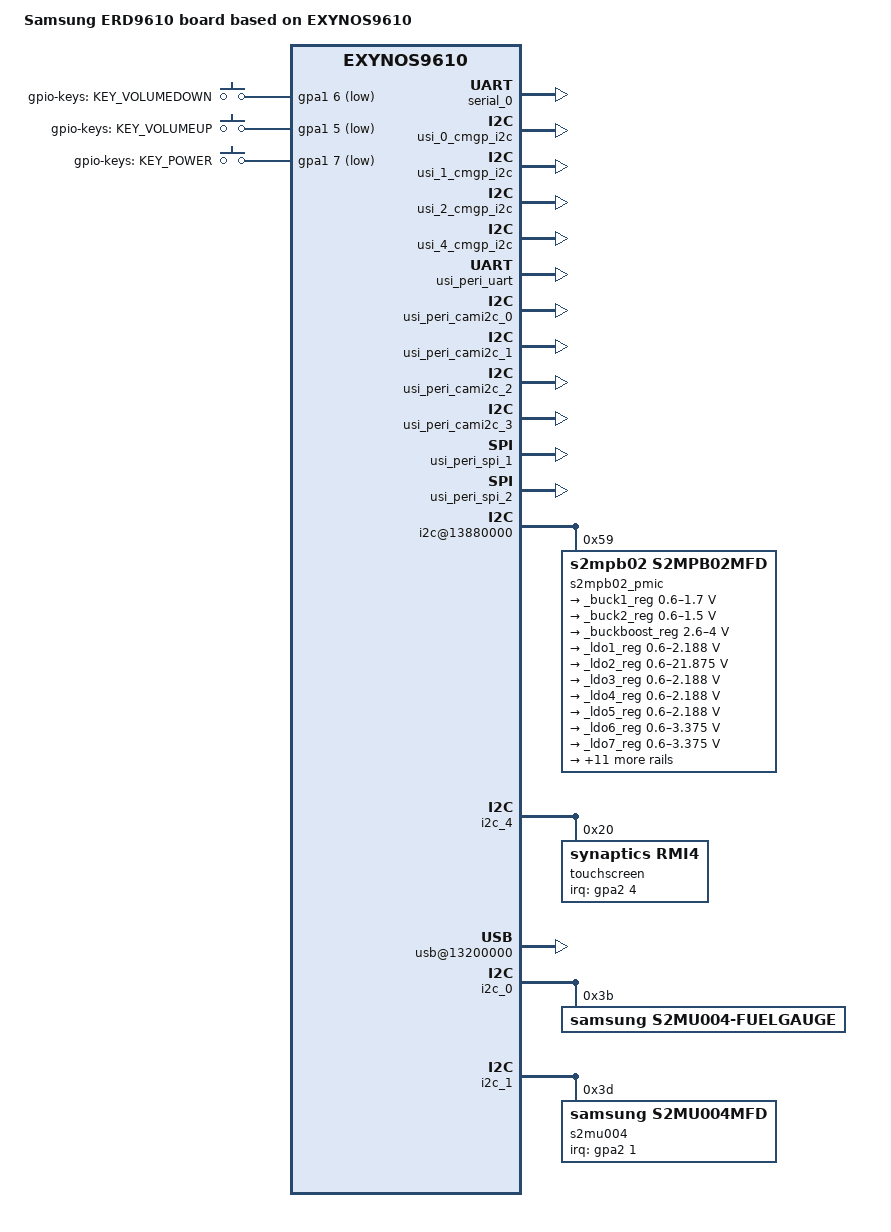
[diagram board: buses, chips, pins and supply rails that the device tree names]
/*
 * SAMSUNG EXYNOS9610 board device tree source
 *
 * Copyright (c) 2017 Samsung Electronics Co., Ltd.
 *		http://www.samsung.com
 *
 * This program is free software; you can redistribute it and/or modify
 * it under the terms of the GNU General Public License version 2 as
 * published by the Free Software Foundation.
 */

/dts-v1/;
#include "exynos9610-rmem.dtsi"
#include "exynos9610.dtsi"
#include "exynos9610_battery_data.dtsi"
#include "modem-ss360ap-sit-pdata.dtsi"
#include "exynos9610-debug.dtsi"
#include "exynos9610-display-lcd.dtsi"

/ {
	model = "Samsung ERD9610 board based on EXYNOS9610";
	compatible = "samsung,exynos9610", "samsung,ERD9610";

	ect {
		parameter_address = <0x90000000>;
		parameter_size = <0x19000>;
	};

	chosen {
		bootargs = "console=ram root=/dev/ram0 clk_ignore_unused bcm_setup=0xffffff80f8e00000 androidboot.hardware=samsungexynos9610 androidboot.selinux=permissive androidboot.debug_level=0x4948 firmware_class.path=/vendor/firmware ecd_setup=disable reserve-fimc=0xffffff80fa000000 pmic_info=0x3";
		linux,initrd-start = <0x84000000>;
		linux,initrd-end = <0x841FFFFF>;
	};

	fixed-rate-clocks {
		oscclk {
			compatible = "samsung,exynos9610-oscclk";
			clock-frequency = <26000000>;
		};
	};

	firmware {
		android {
			compatible = "android,firmware";
			fstab {
				compatible = "android,fstab";
				system {
					compatible = "android,system";
					dev = "/dev/block/platform/13520000.ufs/by-name/system";
					type = "ext4";
					mnt_flags = "ro";
					fsmgr_flags = "wait";
				};
				vendor {
					compatible = "android,vendor";
					dev = "/dev/block/platform/13520000.ufs/by-name/vendor";
					type = "ext4";
					mnt_flags = "ro";
					fsmgr_flags = "wait";
				};
			};
		};
	};

	serial_0: uart@13820000 {
		status = "okay";
	};

	dsim_0: dsim@0x148E0000 {
		lcd_info = <&s6e3fa0>;
		/* reset */
		gpios = <&gpg1 4 0x1>, <&gpg1 7 0x1>;
	};

	/* USI_0_SHUB */
	usi_0_shub: usi@11013000 {
		usi_v2_mode = "spi";
		status = "okay";
	};

	/* USI_SHUB_0_I2C */
	usi_0_shub_i2c: usi@11013004 {
		/*	usi_v2_mode = "i2c" or "spi" or "uart"	*/
		status = "disabled";
	};

	/* USI_0_CMGP */
	usi_0_cmgp: usi@11C12000 {
		/*	usi_v2_mode = "i2c" or "spi" or "uart"	*/
		status = "disabled";
	};

	/* USI_0_CMGP_I2C */
	usi_0_cmgp_i2c: usi@11C12004 {
		usi_v2_mode = "i2c";
		status = "okay";
	};

	/* USI_1_CMGP */
	usi_1_cmgp: usi@11C12010 {
		usi_v2_mode = "i2c";
		status = "okay";
	};

	/* USI_1_CMGP_I2C */
	usi_1_cmgp_i2c: usi@11C12014 {
		usi_v2_mode = "i2c";
		status = "okay";
	};

	/* USI_2_CMGP */
	usi_2_cmgp: usi@11C12020 {
		/*	usi_v2_mode = "i2c" or "spi" or "uart"	*/
		status = "disabled";
	};

	/* USI_2_CMGP_I2C */
	usi_2_cmgp_i2c: usi@11C12024 {
		usi_v2_mode = "i2c";
		status = "okay";
	};

	/* USI_3_CMGP */
	usi_3_cmgp: usi@11C12030 {
		usi_v2_mode = "spi";
		status = "okay";
	};

	/* USI_3_CMGP_I2C */
	usi_3_cmgp_i2c: usi@11C12034 {
		/*	usi_v2_mode = "i2c" or "spi" or "uart"	*/
		status = "disabled";
	};

	/* USI_4_CMGP */
	usi_4_cmgp: usi@11C12040 {
		usi_v2_mode = "i2c";
		status = "okay";
	};

	/* USI_4_CMGP_I2C */
	usi_4_cmgp_i2c: usi@11C12044 {
		usi_v2_mode = "i2c";
		status = "okay";
	};

	/* USI_PERI_UART */
	usi_peri_uart: usi@10011010 {
		usi_v2_mode = "uart";
		status = "okay";
	};

	/* USI_PERI_CAMI2C_0 */
	usi_peri_cami2c_0: usi@10011020 {
		usi_v2_mode = "i2c";
		status = "okay";
	};

	/* USI_PERI_CAMI2C_1 */
	usi_peri_cami2c_1: usi@10011024 {
		usi_v2_mode = "i2c";
		status = "okay";
	};

	/* USI_PERI_CAMI2C_2 */
	usi_peri_cami2c_2: usi@10011028 {
		usi_v2_mode = "i2c";
		status = "okay";
	};

	/* USI_PERI_CAMI2C_3 */
	usi_peri_cami2c_3: usi@1001102C {
		usi_v2_mode = "i2c";
		status = "okay";
	};

	/* USI_PERI_SPI_0 */
	usi_peri_spi_0: usi@10011030 {
		/*	usi_v2_mode = "i2c" or "spi" or "uart"	*/
		status = "disabled";
	};

	/* USI_PERI_SPI_1 */
	usi_peri_spi_1: usi@10011034 {
		usi_v2_mode = "spi";
		status = "okay";
	};

	/* USI_PERI_USI_0 */
	usi_peri_usi_0: usi@1001103C {
		/*	usi_v2_mode = "i2c" or "spi" or "uart"	*/
		status = "disabled";
	};

	/* USI_PERI_USI_0_I2C */
	usi_peri_usi_0_i2c: usi@10011040 {
		/*	usi_v2_mode = "i2c" or "spi" or "uart"	*/
		status = "disabled";
	};

	/* USI_PERI_SPI_2 */
	usi_peri_spi_2: usi@10011038 {
		usi_v2_mode = "spi";
		status = "okay";
	};

	pinctrl@11850000 {
		pmic_irq: pmic-irq {
			samsung,pins = "gpa2-0";
			samsung,pin-pud = <3>;
			samsugn,pin-drv = <3>;
		};
		sub_pmic_irq: sub-pmic-irq {
			samsung,pins = "gpa1-3";
			samsung,pin-function = <0>;
			samsung,pin-pud = <0>;
			samsung,pin-drv = <0>;
		};
	};

	pinctrl@139B0000 {
		/* Warm reset informatino from AP */
		pm_wrsti: pm-wrsti {
			samsung,pins = "gpg0-7";
			samsung,pin-con-pdn = <3>;
		};
	};


	ifconn {
		status = "okay";
		compatible = "samsung,ifconn";
		ifconn,usbpd = "s2mm005";
		ifconn,muic = "s2mu004-muic";
	};

	speedy@11a10000 {
		status = "okay";

		s2mpu09mfd@00 {
			compatible = "samsung,s2mpu09mfd";
			acpm-ipc-channel = <2>;
			i2c-speedy-address;
			s2mpu09,wakeup = "enabled";
			s2mpu09,irq-gpio = <&gpa2 0 0>;
			reg = <0x00>;
			interrupts = <2 0 0>;
			interrupt-parent = <&gpa2>;
			pinctrl-names = "default";
			pinctrl-0 = <&pmic_irq &pm_wrsti>;
			/* RTC: wtsr/smpl */
			wtsr_en = "enabled"; /* enable */
			smpl_en = "enabled"; /* enable */
			wtsr_timer_val = <3>;	/* 1000ms */
			smpl_timer_val = <4>;	/* 500ms */
			check_jigon = <0>; /* do not check jigon */
			/* RTC: If it's first boot, reset rtc to 1/1/2017 12:00:00(Sun) */
			init_time,sec = <0>;
			init_time,min = <0>;
			init_time,hour = <12>;
			init_time,mday = <1>;
			init_time,mon = <0>;
			init_time,year = <117>;
			init_time,wday = <0>;

			regulators {
				b1_reg: BUCK1 {
					regulator-name = "vdd_mif";
					regulator-min-microvolt = <500000>;
					regulator-max-microvolt = <1100000>;
					regulator-always-on;
					regulator-ramp-delay = <12000>;
					regulator-initial-mode = <2>;
				};

				b2_reg: BUCK2 {
					regulator-name = "vdd_cpucl1";
					regulator-min-microvolt = <500000>;
					regulator-max-microvolt = <1300000>;
					regulator-always-on;
					regulator-ramp-delay = <12000>;
					regulator-initial-mode = <1>;
				};

				b3_reg: BUCK3 {
					regulator-name = "vdd_cpucl0";
					regulator-min-microvolt = <500000>;
					regulator-max-microvolt = <1300000>;
					regulator-always-on;
					regulator-ramp-delay = <12000>;
					regulator-initial-mode = <1>;
				};

				b4_reg: BUCK4{
					regulator-name = "vdd_int";
					regulator-min-microvolt = <500000>;
					regulator-max-microvolt = <1100000>;
					regulator-always-on;
					regulator-ramp-delay = <12000>;
					regulator-initial-mode = <2>;
				};

				b5_reg: BUCK5 {
					regulator-name = "vdd_g3d";
					regulator-min-microvolt = <500000>;
					regulator-max-microvolt = <1200000>;
					regulator-always-on;
					regulator-ramp-delay = <12000>;
					regulator-initial-mode = <2>;
				};

				b6_reg: BUCK6 {
					regulator-name = "vdd_cam_vipx";
					regulator-min-microvolt = <500000>;
					regulator-max-microvolt = <1300000>;
					regulator-always-on;
					regulator-ramp-delay = <12000>;
					regulator-initial-mode = <2>;
				};

				b7_reg: BUCK7 {
					regulator-name = "vdd2_mem";
					regulator-min-microvolt = <500000>;
					regulator-max-microvolt = <1300000>;
					regulator-always-on;
					regulator-ramp-delay = <12000>;
					regulator-initial-mode = <3>;
				};

				b8_reg: BUCK8 {
					regulator-name = "vdd_lldo";
					regulator-min-microvolt = <1200000>;
					regulator-max-microvolt = <1500000>;
					regulator-always-on;
					regulator-ramp-delay = <12000>;
					regulator-initial-mode = <3>;
				};

				b9_reg: BUCK9 {
					regulator-name = "vdd_mldo";
					regulator-min-microvolt = <1800000>;
					regulator-max-microvolt = <2100000>;
					regulator-always-on;
					regulator-ramp-delay = <12000>;
					regulator-initial-mode = <3>;
				};

				l1_reg: LDO1 {
					regulator-name = "vdd_ldo1";
					regulator-min-microvolt = <700000>;
					regulator-max-microvolt = <1300000>;
					regulator-always-on;
					regulator-ramp-delay = <12000>;
					regulator-initial-mode = <3>;
				};

				l2_reg: LDO2 {
					regulator-name = "vqmmc";
					regulator-min-microvolt = <1800000>;
					regulator-max-microvolt = <3375000>;
					regulator-ramp-delay = <12000>;
				};

				l3_reg: LDO3 {
					regulator-name = "vdd_ldo3";
					regulator-min-microvolt = <800000>;
					regulator-max-microvolt = <1950000>;
					regulator-always-on;
					regulator-ramp-delay = <12000>;
					regulator-initial-mode = <3>;
				};

				l4_reg: LDO4 {
					regulator-name = "vdd_ldo4";
					regulator-min-microvolt = <500000>;
					regulator-max-microvolt = <1100000>;
					regulator-always-on;
					regulator-ramp-delay = <12000>;
					regulator-initial-mode = <1>;
				};

				l5_reg: LDO5 {
					regulator-name = "vdd_ldo5";
					regulator-min-microvolt = <800000>;
					regulator-max-microvolt = <1300000>;
					regulator-always-on;
					regulator-ramp-delay = <12000>;
					regulator-initial-mode = <1>;
				};

				l6_reg: LDO6 {
					regulator-name = "vdd_ldo6";
					regulator-min-microvolt = <800000>;
					regulator-max-microvolt = <1300000>;
					regulator-always-on;
					regulator-ramp-delay = <12000>;
					regulator-initial-mode = <1>;
				};

				l7_reg: LDO7 {
					regulator-name = "vdd_ldo7";
					regulator-min-microvolt = <800000>;
					regulator-max-microvolt = <1950000>;
					regulator-always-on;
					regulator-ramp-delay = <12000>;
					regulator-initial-mode = <1>;
				};

				l8_reg: LDO8 {
					regulator-name = "vdd_ldo8";
					regulator-min-microvolt = <500000>;
					regulator-max-microvolt = <1300000>;
					regulator-always-on;
					regulator-ramp-delay = <12000>;
					regulator-initial-mode = <1>;
				};

				l9_reg: LDO9 {
					regulator-name = "vdd_ldo9";
					regulator-min-microvolt = <500000>;
					regulator-max-microvolt = <1300000>;
					regulator-always-on;
					regulator-ramp-delay = <12000>;
					regulator-initial-mode = <1>;
				};

				l10_reg: LDO10 {
					regulator-name = "vdd_ldo10";
					regulator-min-microvolt = <500000>;
					regulator-max-microvolt = <1300000>;
					regulator-always-on;
					regulator-ramp-delay = <12000>;
					regulator-initial-mode = <1>;
				};

				l11_reg: LDO11 {
					regulator-name = "vdd_ldo11";
					regulator-min-microvolt = <500000>;
					regulator-max-microvolt = <1300000>;
					regulator-always-on;
					regulator-ramp-delay = <12000>;
					regulator-initial-mode = <1>;
				};

				l12_reg: LDO12 {
					regulator-name = "vdd_ldo12";
					regulator-min-microvolt = <800000>;
					regulator-max-microvolt = <1300000>;
					regulator-always-on;
					regulator-ramp-delay = <12000>;
					regulator-initial-mode = <1>;
				};

				l13_reg: LDO13 {
					regulator-name = "vdd_ldo13";
					regulator-min-microvolt = <800000>;
					regulator-max-microvolt = <1950000>;
					regulator-always-on;
					regulator-ramp-delay = <12000>;
					regulator-initial-mode = <1>;
				};

				l14_reg: LDO14 {
					regulator-name = "vdd_ldo14";
					regulator-min-microvolt = <1800000>;
					regulator-max-microvolt = <3375000>;
					regulator-always-on;
					regulator-ramp-delay = <12000>;
					regulator-initial-mode = <1>;
				};

				l33_reg: LDO33 {
					regulator-name = "vdd_ldo33";
					regulator-min-microvolt = <800000>;
					regulator-max-microvolt = <1950000>;
					regulator-ramp-delay = <12000>;
				};

				l34_reg: LDO34 {
					regulator-name = "vdd_ldo34";
					regulator-min-microvolt = <1800000>;
					regulator-max-microvolt = <3375000>;
					regulator-ramp-delay = <12000>;
				};

				l35_reg: LDO35 {
					regulator-name = "vmmc";
					regulator-min-microvolt = <1800000>;
					regulator-max-microvolt = <3375000>;
					regulator-ramp-delay = <12000>;
				};

				l36_reg: LDO36 {
					regulator-name = "vdd_ldo36";
					regulator-min-microvolt = <500000>;
					regulator-max-microvolt = <1300000>;
					regulator-always-on;
					regulator-ramp-delay = <12000>;
					regulator-initial-mode = <1>;
				};

				l37_reg: LDO37 {
					regulator-name = "vdd_ldo37";
					regulator-min-microvolt = <1800000>;
					regulator-max-microvolt = <3375000>;
					regulator-ramp-delay = <12000>;
				};

				l38_reg: LDO38 {
					regulator-name = "vdd_ldo38";
					regulator-min-microvolt = <1800000>;
					regulator-max-microvolt = <3375000>;
					regulator-ramp-delay = <12000>;
					regulator-always-on;
				};

				l39_reg: LDO39 {
					regulator-name = "vdd_ldo39";
					regulator-min-microvolt = <800000>;
					regulator-max-microvolt = <1950000>;
					regulator-ramp-delay = <12000>;
					regulator-always-on;
				};

				l40_reg: LDO40 {
					regulator-name = "vdd_ldo40";
					regulator-min-microvolt = <1800000>;
					regulator-max-microvolt = <3375000>;
					regulator-ramp-delay = <12000>;
					regulator-initial-mode = <3>;
					regulator-always-on;
				};

				l41_reg: LDO41 {
					regulator-name = "vdd_ldo41";
					regulator-min-microvolt = <1800000>;
					regulator-max-microvolt = <3375000>;
					regulator-ramp-delay = <12000>;
				};

				l42_reg: LDO42 {
					regulator-name = "vdd_ldo42";
					regulator-min-microvolt = <800000>;
					regulator-max-microvolt = <1950000>;
					regulator-ramp-delay = <12000>;
				};

				l43_reg: LDO43 {
					regulator-name = "vdd_ldo43";
					regulator-min-microvolt = <500000>;
					regulator-max-microvolt = <1300000>;
					regulator-always-on;
					regulator-ramp-delay = <12000>;
					regulator-initial-mode = <1>;
				};

				l44_reg: LDO44 {
					regulator-name = "vdd_ldo44";
					regulator-min-microvolt = <800000>;
					regulator-max-microvolt = <1300000>;
					regulator-ramp-delay = <12000>;
				};
			};
		};
	};

	i2c@13880000 {
		status = "okay";
		s2mpb02_pmic@59 {
			compatible = "s2mpb02,s2mpb02mfd";
			reg = <0x59>;

			s2mpb02,wakeup;
			pinctrl-names = "default";
			pinctrl-0 = <&sub_pmic_irq>;

			regulators {
				_buck1_reg: s2mpb02-buck1 {
					regulator-name = "VDD_EXT_1P3_PB03";
					regulator-min-microvolt = <600000>;
					regulator-max-microvolt = <1700000>;
					regulator-always-on;
					regulator-boot-on;
				};

				_buck2_reg: s2mpb02-buck2 {
					regulator-name = "VDDD_1.0V_CAM";
					regulator-min-microvolt = <600000>;
					regulator-max-microvolt = <1500000>;
				};

				_buckboost_reg: s2mpb02-bb {
					regulator-name = "VREG_BOOST_BYP";
					regulator-min-microvolt = <2600000>;
					regulator-max-microvolt = <4000000>;
					regulator-always-on;
					regulator-boot-on;
				};

				_ldo1_reg: s2mpb02-ldo1 {
					regulator-name = "S2MPB02_LDO1";
					regulator-min-microvolt = <600000>;
					regulator-max-microvolt = <2187500>;
				};

				_ldo2_reg: s2mpb02-ldo2 {
					regulator-name = "S2MPB02_LDO2";
					regulator-min-microvolt = <600000>;
					regulator-max-microvolt = <21875000>;
				};

				_ldo3_reg: s2mpb02-ldo3 {
					regulator-name = "VDDD_1.05V_SUB";
					regulator-min-microvolt = <600000>;
					regulator-max-microvolt = <2187500>;
				};

				_ldo4_reg: s2mpb02-ldo4 {
					regulator-name = "S2MPB02_LDO4";
					regulator-min-microvolt = <600000>;
					regulator-max-microvolt = <2187500>;
				};

				_ldo5_reg: s2mpb02-ldo5 {
					regulator-name = "VDDD_1.05V_VT";
					regulator-min-microvolt = <600000>;
					regulator-max-microvolt = <2187500>;
				};

				_ldo6_reg: s2mpb02-ldo6 {
					regulator-name = "VDDIO_1.8V_VT";
					regulator-min-microvolt = <600000>;
					regulator-max-microvolt = <3375000>;
				};

				_ldo7_reg: s2mpb02-ldo7 {
					regulator-name = "VDDIO_1.8V_SUB";
					regulator-min-microvolt = <600000>;
					regulator-max-microvolt = <3375000>;
				};

				_ldo8_reg: s2mpb02-ldo8 {
					regulator-name = "VDDIO_1.8V_CAM";
					regulator-min-microvolt = <1800000>;
					regulator-max-microvolt = <1800000>;
				};

				_ldo9_reg: s2mpb02-ldo9 {
					regulator-name = "DOVDD_VT_CAM_1V8";
					regulator-min-microvolt = <1800000>;
					regulator-max-microvolt = <1800000>;
				};

				_ldo10_reg: s2mpb02-ldo10 {
					regulator-name = "VDDD_1.8V_OIS";
					regulator-min-microvolt = <600000>;
					regulator-max-microvolt = <3375000>;
				};

				_ldo11_reg: s2mpb02-ldo11 {
					regulator-name = "VDDA_2.8V_CAM";
					regulator-min-microvolt = <2800000>;
					regulator-max-microvolt = <2800000>;
				};

				_ldo12_reg: s2mpb02-ldo12 {
					regulator-name = "VDDD_2.8V_OIS";
					regulator-min-microvolt = <2800000>;
					regulator-max-microvolt = <2800000>;
				};

				_ldo13_reg: s2mpb02-ldo13 {
					regulator-name = "VDDA_2.8V_VT";
					regulator-min-microvolt = <600000>;
					regulator-max-microvolt = <3375000>;
				};

				_ldo14_reg: s2mpb02-ldo14 {
					regulator-name = "VDD_VT_CAM_2V8";
					regulator-min-microvolt = <2800000>;
					regulator-max-microvolt = <2800000>;
				};

				_ldo15_reg: s2mpb02-ldo15 {
					regulator-name = "VDD_2.8V_AF";
					regulator-min-microvolt = <2800000>;
					regulator-max-microvolt = <2800000>;
				};

				_ldo16_reg: s2mpb02-ldo16 {
					regulator-name = "VDD_2.8V_OIS";
					regulator-min-microvolt = <2800000>;
					regulator-max-microvolt = <2800000>;
				};

				_ldo17_reg: s2mpb02-ldo17 {
					regulator-name = "S2MPB02_LDO17";
					regulator-min-microvolt = <600000>;
					regulator-max-microvolt = <3375000>;
				};

				_ldo18_reg: s2mpb02-ldo18 {
					regulator-name = "VDD_PROXY_LED_3P3";
					regulator-min-microvolt = <600000>;
					regulator-max-microvolt = <3375000>;
				};
			};

			torch {
				torch1-gpio = "gpg3-1";
				flash1-gpio = "gpg3-0";

				status = "okay";

				leds1 {
					ledname = "leds-sec1";
					id = <0>;
					brightness = <0xC>; /* (n+1)x100 : 1300mA */
					timeout = <0x7>; /* (n+1)x62.6 : 500ms */
					torch_table_enable = <0>;
				};

				leds2 {
					ledname = "torch-sec1";
					id = <1>;
					brightness = <0xC>; /* (n+1)x20 = 260mA */
					timeout = <0xF>;
					torch_table_enable = <1>;
					torch_table = <2 4 4 5 6 8 9 10 10 12>;
				};
			};
		};
	};

	exynos_rgt {
		compatible = "samsung,exynos-rgt";
	};

	mailbox_cp: mcu_ipc@11920000 {
		compatible = "samsung,exynos-shd-ipc-mailbox";
		reg = <0x0 0x11920000 0x180>;
		mcu,name = "mcu_ipc_cp";
		mcu,id = <0>;
		interrupts = <0 40 0 >;
	};

	mailbox_gnss: mcu_ipc@11A00000 {
		compatible = "samsung,exynos-shd-ipc-mailbox";
		reg = <0x0 0x11A00000 0x180>;
		mcu,name = "mcu_ipc_gnss";
		mcu,id = <1>;
		interrupts = <GIC_SPI 43 IRQ_TYPE_NONE>; /* INTREQ__MAILBOX_GNSS2AP */
	};

	gnss_pdata {
		status = "okay";

		compatible = "samsung,gnss_shdmem_if";
		shmem,name = "KEPLER";
		shmem,device_node_name = "gnss_ipc";

		/* INTREQ__ALIVE_GNSS_ACTIVE, INTREQ__GNSS2AP_WDOG_RESET, INTREQ__GNSS2AP_WAKEUP, INTREQ__GNSS2AP */
		interrupts = <GIC_SPI 27 IRQ_TYPE_NONE>, <GIC_SPI 81 IRQ_TYPE_NONE>, <GIC_SPI 80 IRQ_TYPE_NONE>, <GIC_SPI 79 IRQ_TYPE_NONE>;
		interrupt-names = "ACTIVE", "WATCHDOG", "WAKEUP", "REQ_INIT";

		memory-region = <&gnss_reserved>;
		mbox_info = <&mailbox_gnss>;

		mbx,int_ap2gnss_bcmd = <0>;
		mbx,int_ap2gnss_req_fault_info = <1>;
		mbx,int_ap2gnss_ipc_msg = <2>;
		mbx,int_ap2gnss_ack_wake_set = <3>;
		mbx,int_ap2gnss_ack_wake_clr = <4>;

		mbx,irq_gnss2ap_bcmd = <0>;
		mbx,irq_gnss2ap_rsp_fault_info = <1>;
		mbx,irq_gnss2ap_ipc_msg = <2>;
		mbx,irq_gnss2ap_req_wake_clr = <4>;

		mbx,reg_bcmd_ctrl = <0>, <1>, <2>, <3>;

		reg_rx_ipc_msg = <1 5>;
		reg_tx_ipc_msg = <1 4>;
		reg_rx_head = <1 3>;
		reg_rx_tail = <1 2>;
		reg_tx_head = <1 1>;
		reg_tx_tail = <1 0>;
		fault_info = <1 0x200000 0x180000>;

		shmem,ipc_offset = <0x380000>;
		shmem,ipc_size = <0x80000>;
		shmem,ipc_reg_cnt = <32>;
	};

	gpio_keys {
		status = "okay";
		compatible = "gpio-keys";
		#address-cells = <1>;
		#size-cells = <0>;
		pinctrl-names = "default";
		pinctrl-0 = <&key_voldown &key_volup &key_power>;
		button@1 {
			label = "gpio-keys: KEY_VOLUMEDOWN";
			linux,code = <114>;
			gpios = <&gpa1 6 0xf>;
		};
		button@2 {
			label = "gpio-keys: KEY_VOLUMEUP";
			linux,code = <115>;
			gpios = <&gpa1 5 0xf>;
		};
		button@3 {
			label = "gpio-keys: KEY_POWER";
			linux,code = <116>;
			gpios = <&gpa1 7 0xf>;
			gpio-key,wakeup = <1>;
		};
	};

	pinctrl@11850000 {
		key_voldown: key-voldown {
			samsung,pins = "gpa1-6";
			samsung,pin-function = <0xf>;
			samsung,pin-pud = <0>;
			samsung,pin-drv = <0>;
		};

		key_volup: key-volup {
			samsung,pins = "gpa1-5";
			samsung,pin-function = <0xf>;
			samsung,pin-pud = <0>;
			samsung,pin-drv = <0>;
		};

		key_power: key-power {
			samsung,pins = "gpa1-7";
			samsung,pin-function = <0xf>;
			samsung,pin-pud = <0>;
			samsung,pin-drv = <0>;
		};
	};

	pinctrl@11850000 {
		attn_irq: attn-irq {
			samsung,pins = "gpa2-4";
			samsung,pin-function = <0xf>;
			samsung,pin-pud = <0>;
			samsung,pin-drv = <0>;
		};
		attn_input: attn-input {
			samsung,pins = "gpa2-4";
			samsung,pin-function = <0>;
			samsung,pin-pud = <1>;
		};
	};

	i2c_4:i2c@13870000 {
		status = "okay";
		#address-cells = <1>;
		#size-cells = <0>;
		touchscreen@20 {
			compatible = "synaptics,rmi4";
			reg = <0x20>;
			pinctrl-names = "on_state", "off_state";
			pinctrl-0 = <&attn_irq>;
			pinctrl-1 = <&attn_input>;
			synaptics,irq_gpio = <&gpa2 4 0>;
			synaptics,irq_type = <8200>;
			synaptics,max_coords = <1440 2560>;     /* x y */
			synaptics,num_lines = <29 16>;          /* rx tx */
			synaptics,regulator_dvdd = "VDDD_1.8V_OIS";
			synaptics,regulator_avdd = "vdd_ldo41";
		};
	};

	usb_notifier {
		compatible = "samsung,usb-notifier";
		udc = <&udc>;
	};

	usb@13200000 {
		status = "okay";
		dwc3 {
			dr_mode = "otg";
			maximum-speed = "super-speed";
		};
	};

	usbdrd_phy:phy@131D0000 {
		status = "okay";

		hs_tune_param = <&usb_hs_tune>;
	};

	usbdrd3_phy:phy@131F0000 {
		status = "okay";

		hs_tune_param = <&usb3_hs_tune>;
		ss_tune_param = <&usb3_ss_tune>;
	};

	usb_hs_tune:hs_tune {
		hs_tune_cnt = <12>;

		/* value = <device host> */
		hs_tune1 {
			tune_name = "tx_vref";
			tune_value = <0xf 0xf>;
		};

		hs_tune2 {
			tune_name = "tx_pre_emp";
			tune_value = <0x3 0x3>;
		};

		hs_tune3 {
			tune_name = "tx_pre_emp_plus";
			tune_value = <0x0 0x0>;
		};

		hs_tune4 {
			tune_name = "tx_res";
			tune_value = <0x3 0x3>;
		};

		hs_tune5 {
			tune_name = "tx_rise";
			tune_value = <0x3 0x3>;
		};

		hs_tune6 {
			tune_name = "tx_hsxv";
			tune_value = <0x3 0x3>;
		};

		hs_tune7 {
			tune_name = "tx_fsls";
			tune_value = <0x3 0x3>;
		};

		hs_tune8 {
			tune_name = "rx_sqrx";
			tune_value = <0x7 0x7>;
		};

		hs_tune9 {
			tune_name = "compdis";
			tune_value = <0x7 0x7>;
		};

		hs_tune10 {
			tune_name = "otg";
			tune_value = <0x2 0x2>;
		};

		hs_tune11 {
		/* true : 1, false: 0 */
		/* <enable_user_imp user_imp_value> */
			tune_name = "enable_user_imp";
			tune_value = <0x0 0x0>;
		};

		hs_tune12 {
		/* PHY clk : 1 , FREE clk : 0 */
			tune_name = "is_phyclock";
			tune_value = <0x1 0x1>;
		};
	};

	usb3_ss_tune:ss_tune {
		ss_tune_cnt = <15>;

		/* value = <device host> */
		ss_tune1 {
			tune_name = "tx0_term_offset";
			tune_value = <0x0 0x0>;
		};

		ss_tune2 {
			tune_name = "pcs_tx_swing_full";
			tune_value = <0x7f 0x7f>;
		};

		ss_tune3 {
			tune_name = "pcs_tx_deemph_6db";
			tune_value = <0x1c 0x1c>;
		};

		ss_tune4 {
			tune_name = "pcs_tx_deemph_3p5db";
			tune_value = <0x1c 0x1c>;
		};

		ss_tune5 {
			tune_name = "tx_vboost_lvl_sstx";
			tune_value = <0x7 0x7>;
		};

		ss_tune6 {
			tune_name = "tx_vboost_lvl";
			tune_value = <0x4 0x4>;
		};

		ss_tune7 {
			tune_name = "los_level";
			tune_value = <0x9 0x9>;
		};

		ss_tune8 {
			tune_name = "los_bias";
			tune_value = <0x5 0x5>;
		};

		ss_tune9 {
			tune_name = "pcs_rx_los_mask_val";
			tune_value = <0x104 0x104>;
		};

		ss_tune10 {
			tune_name = "tx_eye_height_cntl_en";
			tune_value = <0x1 0x1>;
		};

		ss_tune11 {
			tune_name = "pipe_tx_deemph_update_delay";
			tune_value = <0x2 0x2>;
		};

		ss_tune12 {
			tune_name = "pcs_tx_swing_full_sstx";
			tune_value = <0x7f 0x7f>;
		};
		ss_tune13 {
			tune_name = "rx_eq_fix_val";
			tune_value = <0x2 0x2>;
		};

		ss_tune14 {
			tune_name = "rx_decode_mode";
			tune_value = <0x1 0x1>;
		};

		ss_tune15 {
			tune_name = "decrese_ss_tx_imp";
			tune_value = <0x1 0x1>;
		};
	};

	usb3_hs_tune:hs_tune {
		hs_tune_cnt = <10>;

		/* value = <device host> */
		hs_tune1 {
			tune_name = "tx_pre_emp";
			tune_value = <0x3 0x3>;
		};

		hs_tune2 {
			tune_name = "tx_pre_emp_plus";
			tune_value = <0x0 0x0>;
		};

		hs_tune3 {
			tune_name = "tx_vref";
			tune_value = <0x7 0x7>;
		};

		hs_tune4 {
			tune_name = "rx_sqrx";
			tune_value = <0x7 0x7>;
		};

		hs_tune5 {
			tune_name = "tx_rise";
			tune_value = <0x3 0x3>;
		};

		hs_tune6 {
			tune_name = "compdis";
			tune_value = <0x7 0x7>;
		};

		hs_tune7 {
			tune_name = "tx_hsxv";
			tune_value = <0x3 0x3>;
		};

		hs_tune8 {
			tune_name = "tx_fsls";
			tune_value = <0x3 0x3>;
		};

		hs_tune9 {
			tune_name = "tx_res";
			tune_value = <0x3 0x3>;
		};

		hs_tune10 {
			tune_name = "utim_clk";
			tune_value = <0x1 0x1>;
		};
	};

	/* Secure RPMB */
	ufs-srpmb {
		compatible = "samsung,ufs-srpmb";
		interrupts = <0 460 0>;
	};

};

&pinctrl_0 {
	if_pmic_irq: if-pmic-irq {
		samsung,pins = "gpa2-1";
		samsung,pin-function = <0>;
		samsung,pin-pud = <0>;
		samsung,pin-drv = <0>;
	};

	fuel_irq: fuel-irq {
		samsung,pins = "gpa2-3";
		samsung,pin-function = <0>;
		samsung,pin-pud = <0>;
		samsung,pin-drv = <0>;
	};
};

&i2c_0 {
	#address-cells = <1>;
	#size-cells = <0>;
	status = "okay";
	s2mu004-fuelgauge@3B {
		compatible = "samsung,s2mu004-fuelgauge";
		reg = <0x3B>;
		pinctrl-names = "default";
		pinctrl-0 = <&fuel_irq>;
		fuelgauge,fuel_int = <&gpa2 3 0>;
		fuelgauge,fuel_alert_soc = <1>;
		fuelgauge,capacity_max = <1000>;
		fuelgauge,capacity_max_margin = <70>;
		fuelgauge,capacity_min = <0>;
		fuelgauge,capacity_calculation_type = <28>;
		fuelgauge,type_str = "SDI";
		fuelgauge,model_type = <1>;
	};
};

&i2c_1 {
	#address-cells = <1>;
	#size-cells = <0>;
	status = "okay";
	s2mu004@3d {
		compatible = "samsung,s2mu004mfd";
		reg = <0x3d>;
		pinctrl-names = "default";
		pinctrl-0 = <&if_pmic_irq>;
		s2mu004,irq-gpio = <&gpa2 1 0>;
		s2mu004,wakeup;
	};

	muic {
		status = "okay";
		muic,uart_addr = "11850000.pinctrl";
		muic,uart_rxd = "gpq0-3";
		muic,uart_txd = "gpq0-4";
	};

	s2mu004-charger {
		status = "okay";
		battery,charger_name = "s2mu004-charger";
		battery,chg_gpio_en = <0>;
		battery,chg_polarity_en = <0>;
		battery,chg_gpio_status = <0>;
		battery,chg_polarity_status = <0>;
		battery,chg_float_voltage = <4350>;
		battery,chg_recharge_vcell = <4250>;
		battery,chg_full_vcell = <4300>;
		battery,full_check_type = <2>;
		battery,full_check_type_2nd = <2>;
		battery,input_current_limit = <
			500 450 500 1200 500 1200 1200 1000 1000 1000
			1000 500 500 1200 1000 500 450>;
		battery,fast_charging_current =	<
			500 450 500 1200 500 1200 1200 1000 1000 1000
			1000 500 500 1200 1000 500 450>;
		battery,full_check_current_1st = <
			300 0 300 300 300 300 300 300 300 300
			300 300 300 300 300 300 0>;
		battery,full_check_current_2nd = <
			100 0 100 100 100 100 100 100 100 100
			100 100 100 100 100 100 0>;
	};
};

&fmp_0 {
	exynos,block-type = "sda";
	exynos,fips-block_offset = <5>;
};
